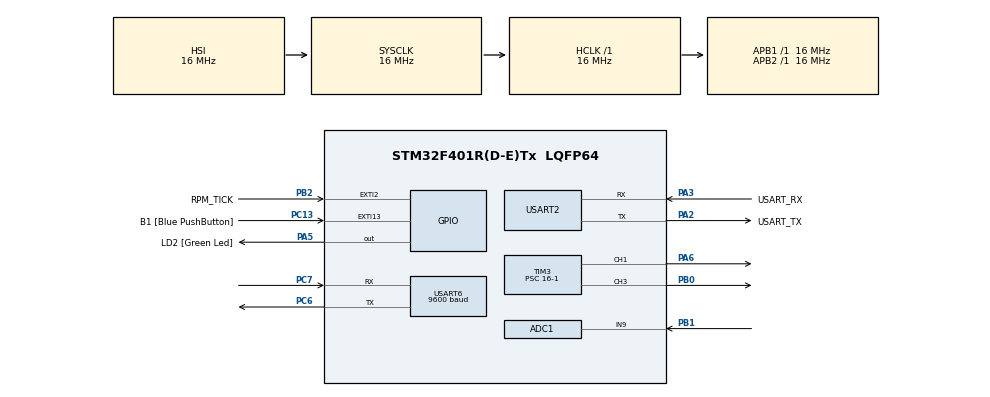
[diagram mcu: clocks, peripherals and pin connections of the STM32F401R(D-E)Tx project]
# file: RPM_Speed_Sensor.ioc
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ADC1.Channel-0\#ChannelRegularConversion=ADC_CHANNEL_9
ADC1.NbrOfConversionFlag=1
ADC1.Rank-0\#ChannelRegularConversion=1
ADC1.SamplingTime-0\#ChannelRegularConversion=ADC_SAMPLETIME_3CYCLES
ADC1.master=1
Mcu.Family=STM32F4
Mcu.Name=STM32F401R(D-E)Tx
Mcu.Package=LQFP64
NVIC.EXTI15_10_IRQn=true\:0\:0\:false\:false\:true\:true\:true\:true
NVIC.EXTI2_IRQn=true\:0\:0\:false\:false\:true\:true\:true\:true
NVIC.PriorityGroup=NVIC_PRIORITYGROUP_0
NVIC.USART6_IRQn=true\:0\:0\:false\:false\:true\:true\:true\:true
PA13.GPIO_Label=TMS
PA13.Mode=Serial_Wire
PA13.Signal=SYS_JTMS-SWDIO
PA14.GPIO_Label=TCK
PA14.Mode=Serial_Wire
PA14.Signal=SYS_JTCK-SWCLK
PA2.GPIO_Label=USART_TX
PA2.GPIO_Mode=GPIO_MODE_AF_PP
PA2.GPIO_PuPd=GPIO_NOPULL
PA2.GPIO_Speed=GPIO_SPEED_FREQ_LOW
PA2.Mode=Asynchronous
PA2.Signal=USART2_TX
PA3.GPIO_Label=USART_RX
PA3.GPIO_Mode=GPIO_MODE_AF_PP
PA3.GPIO_PuPd=GPIO_NOPULL
PA3.GPIO_Speed=GPIO_SPEED_FREQ_LOW
PA3.Mode=Asynchronous
PA3.Signal=USART2_RX
PA5.GPIO_Label=LD2 [Green Led]
PA5.GPIO_Mode=GPIO_MODE_OUTPUT_PP
PA5.GPIO_PuPd=GPIO_NOPULL
PA5.GPIO_Speed=GPIO_SPEED_FREQ_LOW
PA5.Signal=GPIO_Output
PA6.Signal=S_TIM3_CH1
PB0.Signal=S_TIM3_CH3
PB1.Signal=ADCx_IN9
PB2.GPIO_Label=RPM_TICK
PB2.Signal=GPXTI2
PB3.GPIO_Label=SWO
PB3.Signal=SYS_JTDO-SWO
PC13-ANTI_TAMP.GPIO_Label=B1 [Blue PushButton]
PC13-ANTI_TAMP.GPIO_ModeDefaultEXTI=GPIO_MODE_IT_FALLING
PC13-ANTI_TAMP.GPIO_PuPd=GPIO_NOPULL
PC13-ANTI_TAMP.Signal=GPXTI13
PC14-OSC32_IN.Mode=LSE-External-Oscillator
PC14-OSC32_IN.Signal=RCC_OSC32_IN
PC15-OSC32_OUT.Mode=LSE-External-Oscillator
PC15-OSC32_OUT.Signal=RCC_OSC32_OUT
PC6.Mode=Asynchronous
PC6.Signal=USART6_TX
PC7.Mode=Asynchronous
PC7.Signal=USART6_RX
PH0\ -\ OSC_IN.Mode=HSE-External-Clock-Source
PH0\ -\ OSC_IN.Signal=RCC_OSC_IN
PH1\ -\ OSC_OUT.Mode=HSE-External-Clock-Source
PH1\ -\ OSC_OUT.Signal=RCC_OSC_OUT
ProjectManager.HeapSize=0x200
ProjectManager.StackSize=0x400
ProjectManager.TargetToolchain=STM32CubeIDE
RCC.48MHZClocksFreq_Value=48000000
RCC.AHBFreq_Value=16000000
RCC.APB1Freq_Value=16000000
RCC.APB1TimFreq_Value=16000000
RCC.APB2Freq_Value=16000000
RCC.APB2TimFreq_Value=16000000
RCC.CortexFreq_Value=16000000
RCC.HCLKFreq_Value=16000000
RCC.HSE_VALUE=8000000
RCC.HSI_VALUE=16000000
RCC.PLLN=336
RCC.PLLP=RCC_PLLP_DIV4
RCC.PLLQ=7
RCC.SYSCLKFreq_VALUE=16000000
RCC.VCOOutputFreq_Value=336000000
SH.ADCx_IN9.0=ADC1_IN9,IN9
SH.S_TIM3_CH1.0=TIM3_CH1,PWM Generation1 CH1
SH.S_TIM3_CH3.0=TIM3_CH3,PWM Generation3 CH3
TIM3.AutoReloadPreload=TIM_AUTORELOAD_PRELOAD_ENABLE
TIM3.Channel-PWM\ Generation1\ CH1=TIM_CHANNEL_1
TIM3.Channel-PWM\ Generation3\ CH3=TIM_CHANNEL_3
TIM3.Period=2000-1
TIM3.Prescaler=16-1
TIM3.Pulse-PWM\ Generation1\ CH1=1200-1
USART2.VirtualMode=VM_ASYNC
USART6.BaudRate=9600
USART6.VirtualMode=VM_ASYNC
VP_TIM3_VS_ClockSourceINT.Mode=Internal
board=NUCLEO-F401RE

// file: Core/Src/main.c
/* USER CODE BEGIN Header */
/**
  ******************************************************************************
  * @file           : main.c
  * @brief          : Main program body
  ******************************************************************************
  * @attention
  *
  * Copyright (c) 2024 STMicroelectronics.
  * All rights reserved.
  *
  * This software is licensed under terms that can be found in the LICENSE file
  * in the root directory of this software component.
  * If no LICENSE file comes with this software, it is provided AS-IS.
  *
  ******************************************************************************
  */
/* USER CODE END Header */
#include "main.h"
#include <stdio.h>
#include <string.h>

ADC_HandleTypeDef hadc1;

TIM_HandleTypeDef htim3;

UART_HandleTypeDef huart2;
UART_HandleTypeDef huart6;

void SystemClock_Config(void);
static void MX_GPIO_Init(void);
static void MX_USART2_UART_Init(void);
static void MX_ADC1_Init(void);
static void MX_TIM3_Init(void);
static void MX_USART6_UART_Init(void);

/* USER CODE BEGIN 0 */
unsigned int rpm_tick_count = 0;
/* USER CODE END 0 */

int main(void)
{

  /* USER CODE BEGIN 1 */
	uint8_t txd_msg_buffer[64] = {0};
  /* USER CODE END 1 */

  /* MCU Configuration--------------------------------------------------------*/

  /* Reset of all peripherals, Initializes the Flash interface and the Systick. */
  HAL_Init();

  /* Configure the system clock */
  SystemClock_Config();

  /* Initialize all configured peripherals */
  MX_GPIO_Init();
  MX_USART2_UART_Init();
  MX_ADC1_Init();
  MX_TIM3_Init();
  MX_USART6_UART_Init();
  /* USER CODE BEGIN 2 */
  HAL_TIM_Base_Init(&htim3);
  HAL_TIM_PWM_Start(&htim3, TIM_CHANNEL_1);
  HAL_TIM_PWM_Start(&htim3, TIM_CHANNEL_3);
  TIM3->PSC = 0;
  TIM3->ARR = 60000;
  TIM3->CCR1 = 0;
  TIM3->CCR3 = 0;
  int TIM3_Ch_DCVAL = 0;
  /* USER CODE END 2 */

  /* Infinite loop */
  /* USER CODE BEGIN WHILE */
  while (1)
  {
	  while(TIM3_Ch_DCVAL < 60000) {
	  		 TIM3_Ch_DCVAL += (50);
	  		 TIM3->CCR1 = TIM3_Ch_DCVAL;
	  		 HAL_Delay(1);
	  	 }

	  	 HAL_Delay(5000);

	  	 while(TIM3_Ch_DCVAL > 0) {
	  		TIM3_Ch_DCVAL -= (50);
	  		TIM3->CCR1 = TIM3_Ch_DCVAL;
	  		HAL_Delay(1);
	  	 }

	  	 HAL_Delay(5000);

	  	 while(TIM3_Ch_DCVAL < 60000) {
	  		 TIM3_Ch_DCVAL += (50);
	  		 TIM3->CCR3 = TIM3_Ch_DCVAL;
	  		 HAL_Delay(1);
	  	 }

	  	 HAL_Delay(5000);

	  	 while(TIM3_Ch_DCVAL > 0) {
	  		TIM3_Ch_DCVAL -= (50);
	  		TIM3->CCR3 = TIM3_Ch_DCVAL;
	  		HAL_Delay(1);
	  	 }

	  	 sprintf((char*)txd_msg_buffer, "RPM Tick Count: %d \r \n", rpm_tick_count);
	  	 HAL_UART_Transmit(&huart6, txd_msg_buffer, strlen((char*)txd_msg_buffer), 1000);
	  	 HAL_Delay(1000);
    /* USER CODE END WHILE */

  }
}

void SystemClock_Config(void)
{
  RCC_OscInitTypeDef RCC_OscInitStruct = {0};
  RCC_ClkInitTypeDef RCC_ClkInitStruct = {0};

  /** Configure the main internal regulator output voltage
  */
  __HAL_RCC_PWR_CLK_ENABLE();
  __HAL_PWR_VOLTAGESCALING_CONFIG(PWR_REGULATOR_VOLTAGE_SCALE2);

  /** Initializes the RCC Oscillators according to the specified parameters
  * in the RCC_OscInitTypeDef structure.
  */
  RCC_OscInitStruct.OscillatorType = RCC_OSCILLATORTYPE_HSI;
  RCC_OscInitStruct.HSIState = RCC_HSI_ON;
  RCC_OscInitStruct.HSICalibrationValue = RCC_HSICALIBRATION_DEFAULT;
  RCC_OscInitStruct.PLL.PLLState = RCC_PLL_NONE;
  if (HAL_RCC_OscConfig(&RCC_OscInitStruct) != HAL_OK)
  {
    Error_Handler();
  }

  /** Initializes the CPU, AHB and APB buses clocks
  */
  RCC_ClkInitStruct.ClockType = RCC_CLOCKTYPE_HCLK|RCC_CLOCKTYPE_SYSCLK
                              |RCC_CLOCKTYPE_PCLK1|RCC_CLOCKTYPE_PCLK2;
  RCC_ClkInitStruct.SYSCLKSource = RCC_SYSCLKSOURCE_HSI;
  RCC_ClkInitStruct.AHBCLKDivider = RCC_SYSCLK_DIV1;
  RCC_ClkInitStruct.APB1CLKDivider = RCC_HCLK_DIV1;
  RCC_ClkInitStruct.APB2CLKDivider = RCC_HCLK_DIV1;

  if (HAL_RCC_ClockConfig(&RCC_ClkInitStruct, FLASH_LATENCY_0) != HAL_OK)
  {
    Error_Handler();
  }
}

static void MX_ADC1_Init(void)
{

  ADC_ChannelConfTypeDef sConfig = {0};

  /** Configure the global features of the ADC (Clock, Resolution, Data Alignment and number of conversion)
  */
  hadc1.Instance = ADC1;
  hadc1.Init.ClockPrescaler = ADC_CLOCK_SYNC_PCLK_DIV2;
  hadc1.Init.Resolution = ADC_RESOLUTION_12B;
  hadc1.Init.ScanConvMode = DISABLE;
  hadc1.Init.ContinuousConvMode = DISABLE;
  hadc1.Init.DiscontinuousConvMode = DISABLE;
  hadc1.Init.ExternalTrigConvEdge = ADC_EXTERNALTRIGCONVEDGE_NONE;
  hadc1.Init.ExternalTrigConv = ADC_SOFTWARE_START;
  hadc1.Init.DataAlign = ADC_DATAALIGN_RIGHT;
  hadc1.Init.NbrOfConversion = 1;
  hadc1.Init.DMAContinuousRequests = DISABLE;
  hadc1.Init.EOCSelection = ADC_EOC_SINGLE_CONV;
  if (HAL_ADC_Init(&hadc1) != HAL_OK)
  {
    Error_Handler();
  }

  /** Configure for the selected ADC regular channel its corresponding rank in the sequencer and its sample time.
  */
  sConfig.Channel = ADC_CHANNEL_9;
  sConfig.Rank = 1;
  sConfig.SamplingTime = ADC_SAMPLETIME_3CYCLES;
  if (HAL_ADC_ConfigChannel(&hadc1, &sConfig) != HAL_OK)
  {
    Error_Handler();
  }

}

static void MX_TIM3_Init(void)
{

  TIM_ClockConfigTypeDef sClockSourceConfig = {0};
  TIM_MasterConfigTypeDef sMasterConfig = {0};
  TIM_OC_InitTypeDef sConfigOC = {0};

  htim3.Instance = TIM3;
  htim3.Init.Prescaler = 16-1;
  htim3.Init.CounterMode = TIM_COUNTERMODE_UP;
  htim3.Init.Period = 2000-1;
  htim3.Init.ClockDivision = TIM_CLOCKDIVISION_DIV1;
  htim3.Init.AutoReloadPreload = TIM_AUTORELOAD_PRELOAD_ENABLE;
  if (HAL_TIM_Base_Init(&htim3) != HAL_OK)
  {
    Error_Handler();
  }
  sClockSourceConfig.ClockSource = TIM_CLOCKSOURCE_INTERNAL;
  if (HAL_TIM_ConfigClockSource(&htim3, &sClockSourceConfig) != HAL_OK)
  {
    Error_Handler();
  }
  if (HAL_TIM_PWM_Init(&htim3) != HAL_OK)
  {
    Error_Handler();
  }
  sMasterConfig.MasterOutputTrigger = TIM_TRGO_RESET;
  sMasterConfig.MasterSlaveMode = TIM_MASTERSLAVEMODE_DISABLE;
  if (HAL_TIMEx_MasterConfigSynchronization(&htim3, &sMasterConfig) != HAL_OK)
  {
    Error_Handler();
  }
  sConfigOC.OCMode = TIM_OCMODE_PWM1;
  sConfigOC.Pulse = 1200-1;
  sConfigOC.OCPolarity = TIM_OCPOLARITY_HIGH;
  sConfigOC.OCFastMode = TIM_OCFAST_DISABLE;
  if (HAL_TIM_PWM_ConfigChannel(&htim3, &sConfigOC, TIM_CHANNEL_1) != HAL_OK)
  {
    Error_Handler();
  }
  sConfigOC.Pulse = 0;
  if (HAL_TIM_PWM_ConfigChannel(&htim3, &sConfigOC, TIM_CHANNEL_3) != HAL_OK)
  {
    Error_Handler();
  }
  HAL_TIM_MspPostInit(&htim3);

}

static void MX_USART2_UART_Init(void)
{

  huart2.Instance = USART2;
  huart2.Init.BaudRate = 115200;
  huart2.Init.WordLength = UART_WORDLENGTH_8B;
  huart2.Init.StopBits = UART_STOPBITS_1;
  huart2.Init.Parity = UART_PARITY_NONE;
  huart2.Init.Mode = UART_MODE_TX_RX;
  huart2.Init.HwFlowCtl = UART_HWCONTROL_NONE;
  huart2.Init.OverSampling = UART_OVERSAMPLING_16;
  if (HAL_UART_Init(&huart2) != HAL_OK)
  {
    Error_Handler();
  }

}

static void MX_USART6_UART_Init(void)
{

  huart6.Instance = USART6;
  huart6.Init.BaudRate = 9600;
  huart6.Init.WordLength = UART_WORDLENGTH_8B;
  huart6.Init.StopBits = UART_STOPBITS_1;
  huart6.Init.Parity = UART_PARITY_NONE;
  huart6.Init.Mode = UART_MODE_TX_RX;
  huart6.Init.HwFlowCtl = UART_HWCONTROL_NONE;
  huart6.Init.OverSampling = UART_OVERSAMPLING_16;
  if (HAL_UART_Init(&huart6) != HAL_OK)
  {
    Error_Handler();
  }

}

static void MX_GPIO_Init(void)
{
  GPIO_InitTypeDef GPIO_InitStruct = {0};

  /* GPIO Ports Clock Enable */
  __HAL_RCC_GPIOC_CLK_ENABLE();
  __HAL_RCC_GPIOH_CLK_ENABLE();
  __HAL_RCC_GPIOA_CLK_ENABLE();
  __HAL_RCC_GPIOB_CLK_ENABLE();

  /*Configure GPIO pin Output Level */
  HAL_GPIO_WritePin(LD2_GPIO_Port, LD2_Pin, GPIO_PIN_RESET);

  /*Configure GPIO pin : B1_Pin */
  GPIO_InitStruct.Pin = B1_Pin;
  GPIO_InitStruct.Mode = GPIO_MODE_IT_FALLING;
  GPIO_InitStruct.Pull = GPIO_NOPULL;
  HAL_GPIO_Init(B1_GPIO_Port, &GPIO_InitStruct);

  /*Configure GPIO pin : LD2_Pin */
  GPIO_InitStruct.Pin = LD2_Pin;
  GPIO_InitStruct.Mode = GPIO_MODE_OUTPUT_PP;
  GPIO_InitStruct.Pull = GPIO_NOPULL;
  GPIO_InitStruct.Speed = GPIO_SPEED_FREQ_LOW;
  HAL_GPIO_Init(LD2_GPIO_Port, &GPIO_InitStruct);

  /*Configure GPIO pin : RPM_TICK_Pin */
  GPIO_InitStruct.Pin = RPM_TICK_Pin;
  GPIO_InitStruct.Mode = GPIO_MODE_IT_RISING;
  GPIO_InitStruct.Pull = GPIO_NOPULL;
  HAL_GPIO_Init(RPM_TICK_GPIO_Port, &GPIO_InitStruct);

  /* EXTI interrupt init*/
  HAL_NVIC_SetPriority(EXTI2_IRQn, 0, 0);
  HAL_NVIC_EnableIRQ(EXTI2_IRQn);

  HAL_NVIC_SetPriority(EXTI15_10_IRQn, 0, 0);
  HAL_NVIC_EnableIRQ(EXTI15_10_IRQn);

}

/* USER CODE BEGIN 4 */
	void HAL_GPIO_EXTI_Callback(uint16_t GPIO_Pin) {
		if (GPIO_Pin == RPM_TICK_Pin) {
			rpm_tick_count += 1;
		}
	}
/* USER CODE END 4 */

void Error_Handler(void)
{
  __disable_irq();
  while (1)
  {
  }
}
